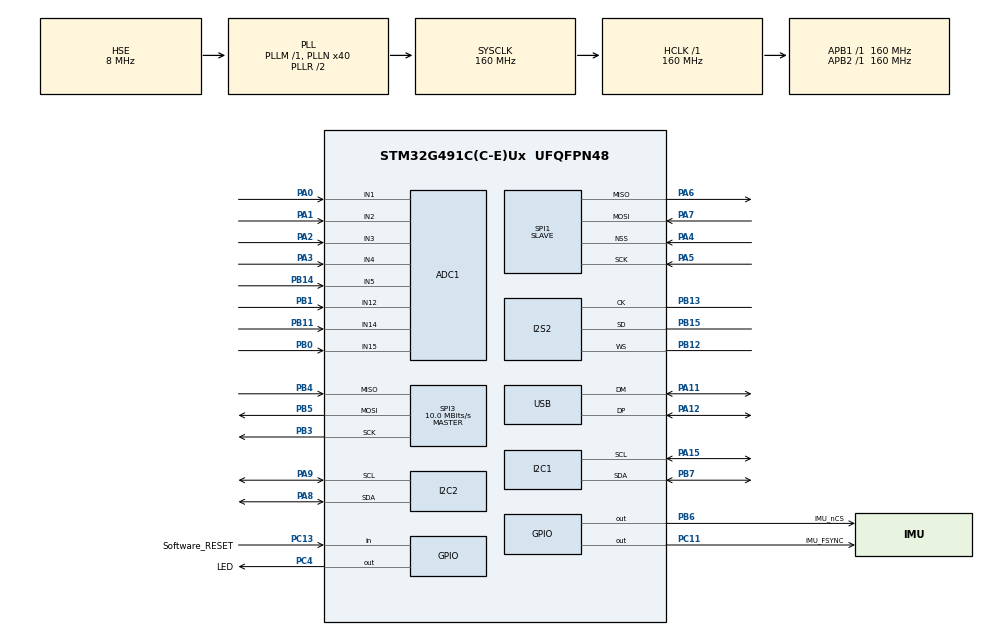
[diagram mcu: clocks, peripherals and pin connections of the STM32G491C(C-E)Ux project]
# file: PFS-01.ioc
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ADC1.Channel-10\#ChannelRegularConversion=ADC_CHANNEL_2
ADC1.Channel-19\#ChannelRegularConversion=ADC_CHANNEL_3
ADC1.Channel-20\#ChannelRegularConversion=ADC_CHANNEL_4
ADC1.Channel-21\#ChannelRegularConversion=ADC_CHANNEL_5
ADC1.Channel-22\#ChannelRegularConversion=ADC_CHANNEL_12
ADC1.Channel-23\#ChannelRegularConversion=ADC_CHANNEL_14
ADC1.Channel-24\#ChannelRegularConversion=ADC_CHANNEL_15
ADC1.Channel-25\#ChannelRegularConversion=ADC_CHANNEL_VBAT
ADC1.Channel-9\#ChannelRegularConversion=ADC_CHANNEL_1
ADC1.ClockPrescaler=ADC_CLOCK_ASYNC_DIV4
ADC1.NbrOfConversion=9
ADC1.NbrOfConversionFlag=1
ADC1.OffsetNumber-10\#ChannelRegularConversion=ADC_OFFSET_NONE
ADC1.OffsetNumber-19\#ChannelRegularConversion=ADC_OFFSET_NONE
ADC1.OffsetNumber-20\#ChannelRegularConversion=ADC_OFFSET_NONE
ADC1.OffsetNumber-21\#ChannelRegularConversion=ADC_OFFSET_NONE
ADC1.OffsetNumber-22\#ChannelRegularConversion=ADC_OFFSET_NONE
ADC1.OffsetNumber-23\#ChannelRegularConversion=ADC_OFFSET_NONE
ADC1.OffsetNumber-24\#ChannelRegularConversion=ADC_OFFSET_NONE
ADC1.OffsetNumber-25\#ChannelRegularConversion=ADC_OFFSET_NONE
ADC1.OffsetNumber-9\#ChannelRegularConversion=ADC_OFFSET_NONE
ADC1.Rank-10\#ChannelRegularConversion=2
ADC1.Rank-19\#ChannelRegularConversion=3
ADC1.Rank-20\#ChannelRegularConversion=4
ADC1.Rank-21\#ChannelRegularConversion=5
ADC1.Rank-22\#ChannelRegularConversion=6
ADC1.Rank-23\#ChannelRegularConversion=7
ADC1.Rank-24\#ChannelRegularConversion=8
ADC1.Rank-25\#ChannelRegularConversion=9
ADC1.Rank-9\#ChannelRegularConversion=1
ADC1.SamplingTime-10\#ChannelRegularConversion=ADC_SAMPLETIME_92CYCLES_5
ADC1.SamplingTime-19\#ChannelRegularConversion=ADC_SAMPLETIME_92CYCLES_5
ADC1.SamplingTime-20\#ChannelRegularConversion=ADC_SAMPLETIME_92CYCLES_5
ADC1.SamplingTime-21\#ChannelRegularConversion=ADC_SAMPLETIME_92CYCLES_5
ADC1.SamplingTime-22\#ChannelRegularConversion=ADC_SAMPLETIME_92CYCLES_5
ADC1.SamplingTime-23\#ChannelRegularConversion=ADC_SAMPLETIME_92CYCLES_5
ADC1.SamplingTime-24\#ChannelRegularConversion=ADC_SAMPLETIME_92CYCLES_5
ADC1.SamplingTime-25\#ChannelRegularConversion=ADC_SAMPLETIME_92CYCLES_5
ADC1.SamplingTime-9\#ChannelRegularConversion=ADC_SAMPLETIME_92CYCLES_5
ADC1.master=1
Dma.I2C2_RX.2.Direction=DMA_PERIPH_TO_MEMORY
Dma.I2C2_RX.2.EventEnable=DISABLE
Dma.I2C2_RX.2.Instance=DMA1_Channel3
Dma.I2C2_RX.2.MemDataAlignment=DMA_MDATAALIGN_BYTE
Dma.I2C2_RX.2.MemInc=DMA_MINC_ENABLE
Dma.I2C2_RX.2.Mode=DMA_NORMAL
Dma.I2C2_RX.2.PeriphDataAlignment=DMA_PDATAALIGN_BYTE
Dma.I2C2_RX.2.PeriphInc=DMA_PINC_DISABLE
Dma.I2C2_RX.2.Polarity=HAL_DMAMUX_REQ_GEN_RISING
Dma.I2C2_RX.2.Priority=DMA_PRIORITY_LOW
Dma.I2C2_RX.2.RequestNumber=1
Dma.I2C2_RX.2.SignalID=NONE
Dma.I2C2_RX.2.SyncEnable=DISABLE
Dma.I2C2_RX.2.SyncPolarity=HAL_DMAMUX_SYNC_NO_EVENT
Dma.I2C2_RX.2.SyncRequestNumber=1
Dma.I2C2_RX.2.SyncSignalID=NONE
Dma.I2C2_TX.3.Direction=DMA_MEMORY_TO_PERIPH
Dma.I2C2_TX.3.EventEnable=DISABLE
Dma.I2C2_TX.3.Instance=DMA1_Channel4
Dma.I2C2_TX.3.MemDataAlignment=DMA_MDATAALIGN_BYTE
Dma.I2C2_TX.3.MemInc=DMA_MINC_ENABLE
Dma.I2C2_TX.3.Mode=DMA_NORMAL
Dma.I2C2_TX.3.PeriphDataAlignment=DMA_PDATAALIGN_BYTE
Dma.I2C2_TX.3.PeriphInc=DMA_PINC_DISABLE
Dma.I2C2_TX.3.Polarity=HAL_DMAMUX_REQ_GEN_RISING
Dma.I2C2_TX.3.Priority=DMA_PRIORITY_LOW
Dma.I2C2_TX.3.RequestNumber=1
Dma.I2C2_TX.3.SignalID=NONE
Dma.I2C2_TX.3.SyncEnable=DISABLE
Dma.I2C2_TX.3.SyncPolarity=HAL_DMAMUX_SYNC_NO_EVENT
Dma.I2C2_TX.3.SyncRequestNumber=1
Dma.I2C2_TX.3.SyncSignalID=NONE
Dma.Request0=SPI1_RX
Dma.Request1=SPI1_TX
Dma.Request2=I2C2_RX
Dma.Request3=I2C2_TX
Dma.SPI1_RX.0.Direction=DMA_PERIPH_TO_MEMORY
Dma.SPI1_RX.0.EventEnable=DISABLE
Dma.SPI1_RX.0.Instance=DMA1_Channel1
Dma.SPI1_RX.0.MemDataAlignment=DMA_MDATAALIGN_BYTE
Dma.SPI1_RX.0.MemInc=DMA_MINC_ENABLE
Dma.SPI1_RX.0.Mode=DMA_NORMAL
Dma.SPI1_RX.0.PeriphDataAlignment=DMA_PDATAALIGN_BYTE
Dma.SPI1_RX.0.PeriphInc=DMA_PINC_DISABLE
Dma.SPI1_RX.0.Polarity=HAL_DMAMUX_REQ_GEN_RISING
Dma.SPI1_RX.0.Priority=DMA_PRIORITY_VERY_HIGH
Dma.SPI1_RX.0.RequestNumber=1
Dma.SPI1_RX.0.SignalID=NONE
Dma.SPI1_RX.0.SyncEnable=DISABLE
Dma.SPI1_RX.0.SyncPolarity=HAL_DMAMUX_SYNC_NO_EVENT
Dma.SPI1_RX.0.SyncRequestNumber=1
Dma.SPI1_RX.0.SyncSignalID=NONE
Dma.SPI1_TX.1.Direction=DMA_MEMORY_TO_PERIPH
Dma.SPI1_TX.1.EventEnable=DISABLE
Dma.SPI1_TX.1.Instance=DMA1_Channel2
Dma.SPI1_TX.1.MemDataAlignment=DMA_MDATAALIGN_BYTE
Dma.SPI1_TX.1.MemInc=DMA_MINC_ENABLE
Dma.SPI1_TX.1.Mode=DMA_NORMAL
Dma.SPI1_TX.1.PeriphDataAlignment=DMA_PDATAALIGN_BYTE
Dma.SPI1_TX.1.PeriphInc=DMA_PINC_DISABLE
Dma.SPI1_TX.1.Polarity=HAL_DMAMUX_REQ_GEN_RISING
Dma.SPI1_TX.1.Priority=DMA_PRIORITY_VERY_HIGH
Dma.SPI1_TX.1.RequestNumber=1
Dma.SPI1_TX.1.SignalID=NONE
Dma.SPI1_TX.1.SyncEnable=DISABLE
Dma.SPI1_TX.1.SyncPolarity=HAL_DMAMUX_SYNC_NO_EVENT
Dma.SPI1_TX.1.SyncRequestNumber=1
Dma.SPI1_TX.1.SyncSignalID=NONE
FREERTOS.Tasks01=ADCTask,0,128,StartADCTask,Default,NULL,Dynamic,NULL,NULL;LEDTask,-3,128,StartLEDTask,Default,NULL,Dynamic,NULL,NULL;PSTask,-3,128,StartPSTask,Default,NULL,Dynamic,NULL,NULL;IMUTask,-3,128,StartIMUTask,Default,NULL,Dynamic,NULL,NULL;SLAVETask,-3,128,StartSLAVETask,Default,NULL,Dynamic,NULL,NULL
FREERTOS.configTOTAL_HEAP_SIZE=15360
FREERTOS.configUSE_NEWLIB_REENTRANT=1
I2C1.Timing=0x30909DEC
I2C2.OwnAddress=0x01
I2C2.Timing=0x30909DEC
I2S2.DataFormat=I2S_DATAFORMAT_24B
I2S2.ErrorAudioFreq=0.8 %
I2S2.FullDuplexMode=I2S_FULLDUPLEXMODE_DISABLE
I2S2.Instance=SPI$Index
I2S2.RealAudioFreq=8.064 KHz
I2S2.VirtualMode=I2S_MODE_MASTER
Mcu.Family=STM32G4
Mcu.Name=STM32G491C(C-E)Ux
Mcu.Package=UFQFPN48
NVIC.DMA1_Channel1_IRQn=true\:5\:0\:false\:false\:true\:true\:false\:true
NVIC.DMA1_Channel2_IRQn=true\:5\:0\:false\:false\:true\:true\:false\:true
NVIC.DMA1_Channel3_IRQn=true\:5\:0\:false\:false\:true\:true\:false\:true
NVIC.DMA1_Channel4_IRQn=true\:5\:0\:false\:false\:true\:true\:false\:true
NVIC.I2C2_ER_IRQn=true\:5\:0\:false\:false\:true\:true\:true\:true
NVIC.I2C2_EV_IRQn=true\:5\:0\:false\:false\:true\:true\:true\:true
NVIC.PriorityGroup=NVIC_PRIORITYGROUP_4
NVIC.TIM1_UP_TIM16_IRQn=true\:0\:0\:false\:false\:true\:false\:false\:true
NVIC.TimeBase=TIM1_UP_TIM16_IRQn
NVIC.TimeBaseIP=TIM1
NVIC.USB_LP_IRQn=true\:5\:0\:false\:false\:true\:true\:false\:true
PA0.Mode=IN1-Single-Ended
PA0.Signal=ADC1_IN1
PA1.Mode=IN2-Single-Ended
PA1.Signal=ADC1_IN2
PA11.Mode=Device
PA11.Signal=USB_DM
PA12.Mode=Device
PA12.Signal=USB_DP
PA13.Mode=Serial_Wire
PA13.Signal=SYS_JTMS-SWDIO
PA14.Mode=Serial_Wire
PA14.Signal=SYS_JTCK-SWCLK
PA15.Mode=I2C
PA15.Signal=I2C1_SCL
PA2.Mode=IN3-Single-Ended
PA2.Signal=ADC1_IN3
PA3.Mode=IN4-Single-Ended
PA3.Signal=ADC1_IN4
PA4.Mode=NSS_Signal_Hard_Input
PA4.Signal=SPI1_NSS
PA5.Mode=Full_Duplex_Slave
PA5.Signal=SPI1_SCK
PA6.Mode=Full_Duplex_Slave
PA6.Signal=SPI1_MISO
PA7.Mode=Full_Duplex_Slave
PA7.Signal=SPI1_MOSI
PA8.Mode=I2C
PA8.Signal=I2C2_SDA
PA9.Mode=I2C
PA9.Signal=I2C2_SCL
PB0.Mode=IN15-Single-Ended
PB0.Signal=ADC1_IN15
PB1.Mode=IN12-Single-Ended
PB1.Signal=ADC1_IN12
PB11.Mode=IN14-Single-Ended
PB11.Signal=ADC1_IN14
PB12.Mode=Half_Duplex_Master
PB12.Signal=I2S2_WS
PB13.Mode=Half_Duplex_Master
PB13.Signal=I2S2_CK
PB14.Mode=IN5-Single-Ended
PB14.Signal=ADC1_IN5
PB15.Mode=Half_Duplex_Master
PB15.Signal=I2S2_SD
PB3.Mode=Full_Duplex_Master
PB3.Signal=SPI3_SCK
PB4.Mode=Full_Duplex_Master
PB4.Signal=SPI3_MISO
PB5.Mode=Full_Duplex_Master
PB5.Signal=SPI3_MOSI
PB6.GPIO_Label=IMU_nCS
PB6.Signal=GPIO_Output
PB7.Mode=I2C
PB7.Signal=I2C1_SDA
PC11.GPIO_Label=IMU_FSYNC
PC11.Signal=GPIO_Output
PC13.GPIO_Label=Software_RESET
PC13.Signal=GPIO_Input
PC4.GPIO_Label=LED
PC4.Signal=GPIO_Output
PF0-OSC_IN.Mode=HSE-External-Oscillator
PF0-OSC_IN.Signal=RCC_OSC_IN
PF1-OSC_OUT.Mode=HSE-External-Oscillator
PF1-OSC_OUT.Signal=RCC_OSC_OUT
ProjectManager.HeapSize=0x200
ProjectManager.StackSize=0x400
ProjectManager.TargetToolchain=STM32CubeIDE
RCC.ADC12Freq_Value=160000000
RCC.ADC345Freq_Value=160000000
RCC.AHBFreq_Value=160000000
RCC.APB1Freq_Value=160000000
RCC.APB1TimFreq_Value=160000000
RCC.APB2Freq_Value=160000000
RCC.APB2TimFreq_Value=160000000
RCC.CortexFreq_Value=160000000
RCC.EXTERNAL_CLOCK_VALUE=12288000
RCC.HCLKFreq_Value=160000000
RCC.HSE_VALUE=8000000
RCC.HSI48_VALUE=48000000
RCC.HSI_VALUE=16000000
RCC.I2SCLockSelection=RCC_I2SCLKSOURCE_HSI
RCC.LSE_VALUE=32768
RCC.PLLN=40
RCC.PLLSourceVirtual=RCC_PLLSOURCE_HSE
RCC.SYSCLKFreq_VALUE=160000000
RCC.SYSCLKSource=RCC_SYSCLKSOURCE_PLLCLK
RCC.USBFreq_Value=48000000
RCC.VCOOutputFreq_Value=320000000
SPI1.DataSize=SPI_DATASIZE_8BIT
SPI1.Direction=SPI_DIRECTION_2LINES
SPI1.Mode=SPI_MODE_SLAVE
SPI1.VirtualNSS=VM_NSSHARD
SPI1.VirtualType=VM_SLAVE
SPI3.BaudRatePrescaler=SPI_BAUDRATEPRESCALER_16
SPI3.CalculateBaudRate=10.0 MBits/s
SPI3.Direction=SPI_DIRECTION_2LINES
SPI3.Mode=SPI_MODE_MASTER
SPI3.VirtualType=VM_MASTER
USB_DEVICE.CLASS_NAME_FS=CDC
USB_DEVICE.VirtualMode=Cdc
USB_DEVICE.VirtualModeFS=Cdc_FS
VP_ADC1_Vbat_Input.Mode=IN-Vbat
VP_FREERTOS_VS_CMSIS_V1.Mode=CMSIS_V1
VP_SYS_VS_DBSignals.Mode=DisableDeadBatterySignals
VP_SYS_VS_tim1.Mode=TIM1
VP_USB_DEVICE_VS_USB_DEVICE_CDC_FS.Mode=CDC_FS
board=custom

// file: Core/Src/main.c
/* USER CODE BEGIN Header */
/**
  ******************************************************************************
  * @file           : main.c
  * @brief          : Main program body
  ******************************************************************************
  * @attention
  *
  * <h2><center>&copy; Copyright (c) 2022 STMicroelectronics.
  * All rights reserved.</center></h2>
  *
  * This software component is licensed by ST under BSD 3-Clause license,
  * the "License"; You may not use this file except in compliance with the
  * License. You may obtain a copy of the License at:
  *                        opensource.org/licenses/BSD-3-Clause
  *
  ******************************************************************************
  */
/* USER CODE END Header */
#include "main.h"
#include "cmsis_os.h"
#include "usb_device.h"

/* USER CODE BEGIN Includes */
#include "sensor.h"
#include <stdio.h>
#include "usbd_cdc_if.h"
/* USER CODE END Includes */

ADC_HandleTypeDef hadc1;

I2C_HandleTypeDef hi2c1;
I2C_HandleTypeDef hi2c2;
DMA_HandleTypeDef hdma_i2c2_rx;
DMA_HandleTypeDef hdma_i2c2_tx;

I2S_HandleTypeDef hi2s2;

SPI_HandleTypeDef hspi1;
SPI_HandleTypeDef hspi3;
DMA_HandleTypeDef hdma_spi1_rx;
DMA_HandleTypeDef hdma_spi1_tx;

osThreadId ADCTaskHandle;
osThreadId LEDTaskHandle;
osThreadId PSTaskHandle;
osThreadId IMUTaskHandle;
osThreadId SLAVETaskHandle;
/* USER CODE BEGIN PV */
uint8_t rxbuff[1];
uint8_t rxbuff_i2c[1];
/* USER CODE END PV */

void SystemClock_Config(void);
static void MX_GPIO_Init(void);
static void MX_DMA_Init(void);
static void MX_ADC1_Init(void);
static void MX_I2C1_Init(void);
static void MX_I2S2_Init(void);
static void MX_SPI1_Init(void);
static void MX_SPI3_Init(void);
static void MX_I2C2_Init(void);
void StartADCTask(void const * argument);
void StartLEDTask(void const * argument);
void StartPSTask(void const * argument);
void StartIMUTask(void const * argument);
void StartSLAVETask(void const * argument);

/* USER CODE BEGIN PFP */
void mpuWrite(uint8_t, uint8_t);
void ps_select_channel();
void ps_init();
void ps_init_multi();
void imu_init();
void ps_update();
void ps_update_multi();
void imu_update();
void adc_update();
void adc_update_ADS7828();
void sw_update();
uint32_t UART_IsEnabledIT_RX();
uint8_t getlen();
//void ics_init();
//void ics_init_DMA();
void txbuff_update();

/* USER CODE END PFP */

/* USER CODE BEGIN 0 */
int _write(int file, char *ptr, int len)
{
  #if enable_uart_slave
	HAL_UART_Transmit(&huart1,(uint8_t *)ptr,len,HAL_MAX_DELAY);
  #endif
  return len;
}

/* USER CODE END 0 */

int main(void)
{
  /* USER CODE BEGIN 1 */
  #if enable_uart_slave
    setbuf(stdout, NULL);
  #endif
  /* USER CODE END 1 */

  /* MCU Configuration--------------------------------------------------------*/

  /* Reset of all peripherals, Initializes the Flash interface and the Systick. */
  HAL_Init();

  /* Configure the system clock */
  SystemClock_Config();

  /* Initialize all configured peripherals */
  MX_GPIO_Init();
  MX_DMA_Init();
  MX_ADC1_Init();
  MX_I2C1_Init();
  MX_I2S2_Init();
  MX_SPI1_Init();
  MX_SPI3_Init();
  MX_USB_Device_Init();
  MX_I2C2_Init();
  /* USER CODE BEGIN 2 */
  sp.board_select = SELECT_PFS_01;
  sp.imu_select = SELECT_ICM_20600;

  sp.spi_slave_flag = 0;

  ps_init(&hi2c1);

  imu_init(&hspi3);

  #if enable_pr2_spi_slave
    // Start SPI slave with PR2
    // HAL_SPI_Receive_DMA should be called at last(?)
    HAL_Delay(100);
    HAL_SPI_Receive_DMA( &hspi1, rxbuff, sizeof(rxbuff));
  #endif

  #if enable_i2c_slave
    HAL_I2C_Slave_Receive_DMA(&hi2c2, (uint8_t*)rxbuff_i2c, 1);
  #endif
  /* USER CODE END 2 */

  /* Create the thread(s) */
  /* definition and creation of ADCTask */
  osThreadDef(ADCTask, StartADCTask, osPriorityNormal, 0, 128);
  ADCTaskHandle = osThreadCreate(osThread(ADCTask), NULL);

  /* definition and creation of LEDTask */
  osThreadDef(LEDTask, StartLEDTask, osPriorityIdle, 0, 128);
  LEDTaskHandle = osThreadCreate(osThread(LEDTask), NULL);

  /* definition and creation of PSTask */
  osThreadDef(PSTask, StartPSTask, osPriorityIdle, 0, 128);
  PSTaskHandle = osThreadCreate(osThread(PSTask), NULL);

  /* definition and creation of IMUTask */
  osThreadDef(IMUTask, StartIMUTask, osPriorityIdle, 0, 128);
  IMUTaskHandle = osThreadCreate(osThread(IMUTask), NULL);

  /* definition and creation of SLAVETask */
  osThreadDef(SLAVETask, StartSLAVETask, osPriorityIdle, 0, 128);
  SLAVETaskHandle = osThreadCreate(osThread(SLAVETask), NULL);

  /* Start scheduler */
  osKernelStart();

  /* We should never get here as control is now taken by the scheduler */
  /* Infinite loop */
  while (1)
  {

  }
}

void SystemClock_Config(void)
{
  RCC_OscInitTypeDef RCC_OscInitStruct = {0};
  RCC_ClkInitTypeDef RCC_ClkInitStruct = {0};
  RCC_PeriphCLKInitTypeDef PeriphClkInit = {0};

  /** Configure the main internal regulator output voltage
  */
  HAL_PWREx_ControlVoltageScaling(PWR_REGULATOR_VOLTAGE_SCALE1_BOOST);
  /** Initializes the RCC Oscillators according to the specified parameters
  * in the RCC_OscInitTypeDef structure.
  */
  RCC_OscInitStruct.OscillatorType = RCC_OSCILLATORTYPE_HSI|RCC_OSCILLATORTYPE_HSI48
                              |RCC_OSCILLATORTYPE_HSE;
  RCC_OscInitStruct.HSEState = RCC_HSE_ON;
  RCC_OscInitStruct.HSIState = RCC_HSI_ON;
  RCC_OscInitStruct.HSICalibrationValue = RCC_HSICALIBRATION_DEFAULT;
  RCC_OscInitStruct.HSI48State = RCC_HSI48_ON;
  RCC_OscInitStruct.PLL.PLLState = RCC_PLL_ON;
  RCC_OscInitStruct.PLL.PLLSource = RCC_PLLSOURCE_HSE;
  RCC_OscInitStruct.PLL.PLLM = RCC_PLLM_DIV1;
  RCC_OscInitStruct.PLL.PLLN = 40;
  RCC_OscInitStruct.PLL.PLLP = RCC_PLLP_DIV2;
  RCC_OscInitStruct.PLL.PLLQ = RCC_PLLQ_DIV2;
  RCC_OscInitStruct.PLL.PLLR = RCC_PLLR_DIV2;
  if (HAL_RCC_OscConfig(&RCC_OscInitStruct) != HAL_OK)
  {
    Error_Handler();
  }
  /** Initializes the CPU, AHB and APB buses clocks
  */
  RCC_ClkInitStruct.ClockType = RCC_CLOCKTYPE_HCLK|RCC_CLOCKTYPE_SYSCLK
                              |RCC_CLOCKTYPE_PCLK1|RCC_CLOCKTYPE_PCLK2;
  RCC_ClkInitStruct.SYSCLKSource = RCC_SYSCLKSOURCE_PLLCLK;
  RCC_ClkInitStruct.AHBCLKDivider = RCC_SYSCLK_DIV1;
  RCC_ClkInitStruct.APB1CLKDivider = RCC_HCLK_DIV1;
  RCC_ClkInitStruct.APB2CLKDivider = RCC_HCLK_DIV1;

  if (HAL_RCC_ClockConfig(&RCC_ClkInitStruct, FLASH_LATENCY_4) != HAL_OK)
  {
    Error_Handler();
  }
  /** Initializes the peripherals clocks
  */
  PeriphClkInit.PeriphClockSelection = RCC_PERIPHCLK_I2C1|RCC_PERIPHCLK_I2C2
                              |RCC_PERIPHCLK_I2S|RCC_PERIPHCLK_USB
                              |RCC_PERIPHCLK_ADC12;
  PeriphClkInit.I2c1ClockSelection = RCC_I2C1CLKSOURCE_PCLK1;
  PeriphClkInit.I2c2ClockSelection = RCC_I2C2CLKSOURCE_PCLK1;
  PeriphClkInit.I2sClockSelection = RCC_I2SCLKSOURCE_HSI;
  PeriphClkInit.UsbClockSelection = RCC_USBCLKSOURCE_HSI48;
  PeriphClkInit.Adc12ClockSelection = RCC_ADC12CLKSOURCE_SYSCLK;
  if (HAL_RCCEx_PeriphCLKConfig(&PeriphClkInit) != HAL_OK)
  {
    Error_Handler();
  }
}

static void MX_ADC1_Init(void)
{

  ADC_MultiModeTypeDef multimode = {0};
  ADC_ChannelConfTypeDef sConfig = {0};

  /** Common config
  */
  hadc1.Instance = ADC1;
  hadc1.Init.ClockPrescaler = ADC_CLOCK_ASYNC_DIV4;
  hadc1.Init.Resolution = ADC_RESOLUTION_12B;
  hadc1.Init.DataAlign = ADC_DATAALIGN_RIGHT;
  hadc1.Init.GainCompensation = 0;
  hadc1.Init.ScanConvMode = ADC_SCAN_ENABLE;
  hadc1.Init.EOCSelection = ADC_EOC_SINGLE_CONV;
  hadc1.Init.LowPowerAutoWait = DISABLE;
  hadc1.Init.ContinuousConvMode = DISABLE;
  hadc1.Init.NbrOfConversion = 9;
  hadc1.Init.DiscontinuousConvMode = DISABLE;
  hadc1.Init.ExternalTrigConv = ADC_SOFTWARE_START;
  hadc1.Init.ExternalTrigConvEdge = ADC_EXTERNALTRIGCONVEDGE_NONE;
  hadc1.Init.DMAContinuousRequests = DISABLE;
  hadc1.Init.Overrun = ADC_OVR_DATA_PRESERVED;
  hadc1.Init.OversamplingMode = DISABLE;
  if (HAL_ADC_Init(&hadc1) != HAL_OK)
  {
    Error_Handler();
  }
  /** Configure the ADC multi-mode
  */
  multimode.Mode = ADC_MODE_INDEPENDENT;
  if (HAL_ADCEx_MultiModeConfigChannel(&hadc1, &multimode) != HAL_OK)
  {
    Error_Handler();
  }
  /** Configure Regular Channel
  */
  sConfig.Channel = ADC_CHANNEL_1;
  sConfig.Rank = ADC_REGULAR_RANK_1;
  sConfig.SamplingTime = ADC_SAMPLETIME_92CYCLES_5;
  sConfig.SingleDiff = ADC_SINGLE_ENDED;
  sConfig.OffsetNumber = ADC_OFFSET_NONE;
  sConfig.Offset = 0;
  if (HAL_ADC_ConfigChannel(&hadc1, &sConfig) != HAL_OK)
  {
    Error_Handler();
  }
  /** Configure Regular Channel
  */
  sConfig.Channel = ADC_CHANNEL_2;
  sConfig.Rank = ADC_REGULAR_RANK_2;
  if (HAL_ADC_ConfigChannel(&hadc1, &sConfig) != HAL_OK)
  {
    Error_Handler();
  }
  /** Configure Regular Channel
  */
  sConfig.Channel = ADC_CHANNEL_3;
  sConfig.Rank = ADC_REGULAR_RANK_3;
  if (HAL_ADC_ConfigChannel(&hadc1, &sConfig) != HAL_OK)
  {
    Error_Handler();
  }
  /** Configure Regular Channel
  */
  sConfig.Channel = ADC_CHANNEL_4;
  sConfig.Rank = ADC_REGULAR_RANK_4;
  if (HAL_ADC_ConfigChannel(&hadc1, &sConfig) != HAL_OK)
  {
    Error_Handler();
  }
  /** Configure Regular Channel
  */
  sConfig.Channel = ADC_CHANNEL_5;
  sConfig.Rank = ADC_REGULAR_RANK_5;
  if (HAL_ADC_ConfigChannel(&hadc1, &sConfig) != HAL_OK)
  {
    Error_Handler();
  }
  /** Configure Regular Channel
  */
  sConfig.Channel = ADC_CHANNEL_12;
  sConfig.Rank = ADC_REGULAR_RANK_6;
  if (HAL_ADC_ConfigChannel(&hadc1, &sConfig) != HAL_OK)
  {
    Error_Handler();
  }
  /** Configure Regular Channel
  */
  sConfig.Channel = ADC_CHANNEL_14;
  sConfig.Rank = ADC_REGULAR_RANK_7;
  if (HAL_ADC_ConfigChannel(&hadc1, &sConfig) != HAL_OK)
  {
    Error_Handler();
  }
  /** Configure Regular Channel
  */
  sConfig.Channel = ADC_CHANNEL_15;
  sConfig.Rank = ADC_REGULAR_RANK_8;
  if (HAL_ADC_ConfigChannel(&hadc1, &sConfig) != HAL_OK)
  {
    Error_Handler();
  }
  /** Configure Regular Channel
  */
  sConfig.Channel = ADC_CHANNEL_VBAT;
  sConfig.Rank = ADC_REGULAR_RANK_9;
  if (HAL_ADC_ConfigChannel(&hadc1, &sConfig) != HAL_OK)
  {
    Error_Handler();
  }

}

static void MX_I2C1_Init(void)
{

  hi2c1.Instance = I2C1;
  hi2c1.Init.Timing = 0x30909DEC;
  hi2c1.Init.OwnAddress1 = 0;
  hi2c1.Init.AddressingMode = I2C_ADDRESSINGMODE_7BIT;
  hi2c1.Init.DualAddressMode = I2C_DUALADDRESS_DISABLE;
  hi2c1.Init.OwnAddress2 = 0;
  hi2c1.Init.OwnAddress2Masks = I2C_OA2_NOMASK;
  hi2c1.Init.GeneralCallMode = I2C_GENERALCALL_DISABLE;
  hi2c1.Init.NoStretchMode = I2C_NOSTRETCH_DISABLE;
  if (HAL_I2C_Init(&hi2c1) != HAL_OK)
  {
    Error_Handler();
  }
  /** Configure Analogue filter
  */
  if (HAL_I2CEx_ConfigAnalogFilter(&hi2c1, I2C_ANALOGFILTER_ENABLE) != HAL_OK)
  {
    Error_Handler();
  }
  /** Configure Digital filter
  */
  if (HAL_I2CEx_ConfigDigitalFilter(&hi2c1, 0) != HAL_OK)
  {
    Error_Handler();
  }

}

static void MX_I2C2_Init(void)
{

  hi2c2.Instance = I2C2;
  hi2c2.Init.Timing = 0x30909DEC;
  hi2c2.Init.OwnAddress1 = 2;
  hi2c2.Init.AddressingMode = I2C_ADDRESSINGMODE_7BIT;
  hi2c2.Init.DualAddressMode = I2C_DUALADDRESS_DISABLE;
  hi2c2.Init.OwnAddress2 = 0;
  hi2c2.Init.OwnAddress2Masks = I2C_OA2_NOMASK;
  hi2c2.Init.GeneralCallMode = I2C_GENERALCALL_DISABLE;
  hi2c2.Init.NoStretchMode = I2C_NOSTRETCH_DISABLE;
  if (HAL_I2C_Init(&hi2c2) != HAL_OK)
  {
    Error_Handler();
  }
  /** Configure Analogue filter
  */
  if (HAL_I2CEx_ConfigAnalogFilter(&hi2c2, I2C_ANALOGFILTER_ENABLE) != HAL_OK)
  {
    Error_Handler();
  }
  /** Configure Digital filter
  */
  if (HAL_I2CEx_ConfigDigitalFilter(&hi2c2, 0) != HAL_OK)
  {
    Error_Handler();
  }

}

static void MX_I2S2_Init(void)
{

  hi2s2.Instance = SPI2;
  hi2s2.Init.Mode = I2S_MODE_MASTER_TX;
  hi2s2.Init.Standard = I2S_STANDARD_PHILIPS;
  hi2s2.Init.DataFormat = I2S_DATAFORMAT_24B;
  hi2s2.Init.MCLKOutput = I2S_MCLKOUTPUT_DISABLE;
  hi2s2.Init.AudioFreq = I2S_AUDIOFREQ_8K;
  hi2s2.Init.CPOL = I2S_CPOL_LOW;
  if (HAL_I2S_Init(&hi2s2) != HAL_OK)
  {
    Error_Handler();
  }

}

static void MX_SPI1_Init(void)
{

  /* SPI1 parameter configuration*/
  hspi1.Instance = SPI1;
  hspi1.Init.Mode = SPI_MODE_SLAVE;
  hspi1.Init.Direction = SPI_DIRECTION_2LINES;
  hspi1.Init.DataSize = SPI_DATASIZE_8BIT;
  hspi1.Init.CLKPolarity = SPI_POLARITY_LOW;
  hspi1.Init.CLKPhase = SPI_PHASE_1EDGE;
  hspi1.Init.NSS = SPI_NSS_HARD_INPUT;
  hspi1.Init.FirstBit = SPI_FIRSTBIT_MSB;
  hspi1.Init.TIMode = SPI_TIMODE_DISABLE;
  hspi1.Init.CRCCalculation = SPI_CRCCALCULATION_DISABLE;
  hspi1.Init.CRCPolynomial = 7;
  hspi1.Init.CRCLength = SPI_CRC_LENGTH_DATASIZE;
  hspi1.Init.NSSPMode = SPI_NSS_PULSE_DISABLE;
  if (HAL_SPI_Init(&hspi1) != HAL_OK)
  {
    Error_Handler();
  }

}

static void MX_SPI3_Init(void)
{

  /* SPI3 parameter configuration*/
  hspi3.Instance = SPI3;
  hspi3.Init.Mode = SPI_MODE_MASTER;
  hspi3.Init.Direction = SPI_DIRECTION_2LINES;
  hspi3.Init.DataSize = SPI_DATASIZE_8BIT;
  hspi3.Init.CLKPolarity = SPI_POLARITY_LOW;
  hspi3.Init.CLKPhase = SPI_PHASE_1EDGE;
  hspi3.Init.NSS = SPI_NSS_SOFT;
  hspi3.Init.BaudRatePrescaler = SPI_BAUDRATEPRESCALER_16;
  hspi3.Init.FirstBit = SPI_FIRSTBIT_MSB;
  hspi3.Init.TIMode = SPI_TIMODE_DISABLE;
  hspi3.Init.CRCCalculation = SPI_CRCCALCULATION_DISABLE;
  hspi3.Init.CRCPolynomial = 7;
  hspi3.Init.CRCLength = SPI_CRC_LENGTH_DATASIZE;
  hspi3.Init.NSSPMode = SPI_NSS_PULSE_ENABLE;
  if (HAL_SPI_Init(&hspi3) != HAL_OK)
  {
    Error_Handler();
  }

}

static void MX_DMA_Init(void)
{

  /* DMA controller clock enable */
  __HAL_RCC_DMAMUX1_CLK_ENABLE();
  __HAL_RCC_DMA1_CLK_ENABLE();

  /* DMA interrupt init */
  /* DMA1_Channel1_IRQn interrupt configuration */
  HAL_NVIC_SetPriority(DMA1_Channel1_IRQn, 5, 0);
  HAL_NVIC_EnableIRQ(DMA1_Channel1_IRQn);
  /* DMA1_Channel2_IRQn interrupt configuration */
  HAL_NVIC_SetPriority(DMA1_Channel2_IRQn, 5, 0);
  HAL_NVIC_EnableIRQ(DMA1_Channel2_IRQn);
  /* DMA1_Channel3_IRQn interrupt configuration */
  HAL_NVIC_SetPriority(DMA1_Channel3_IRQn, 5, 0);
  HAL_NVIC_EnableIRQ(DMA1_Channel3_IRQn);
  /* DMA1_Channel4_IRQn interrupt configuration */
  HAL_NVIC_SetPriority(DMA1_Channel4_IRQn, 5, 0);
  HAL_NVIC_EnableIRQ(DMA1_Channel4_IRQn);

}

static void MX_GPIO_Init(void)
{
  GPIO_InitTypeDef GPIO_InitStruct = {0};

  /* GPIO Ports Clock Enable */
  __HAL_RCC_GPIOC_CLK_ENABLE();
  __HAL_RCC_GPIOF_CLK_ENABLE();
  __HAL_RCC_GPIOA_CLK_ENABLE();
  __HAL_RCC_GPIOB_CLK_ENABLE();

  /*Configure GPIO pin Output Level */
  HAL_GPIO_WritePin(GPIOC, LED_Pin|IMU_FSYNC_Pin, GPIO_PIN_RESET);

  /*Configure GPIO pin Output Level */
  HAL_GPIO_WritePin(IMU_nCS_GPIO_Port, IMU_nCS_Pin, GPIO_PIN_RESET);

  /*Configure GPIO pin : Software_RESET_Pin */
  GPIO_InitStruct.Pin = Software_RESET_Pin;
  GPIO_InitStruct.Mode = GPIO_MODE_INPUT;
  GPIO_InitStruct.Pull = GPIO_NOPULL;
  HAL_GPIO_Init(Software_RESET_GPIO_Port, &GPIO_InitStruct);

  /*Configure GPIO pins : LED_Pin IMU_FSYNC_Pin */
  GPIO_InitStruct.Pin = LED_Pin|IMU_FSYNC_Pin;
  GPIO_InitStruct.Mode = GPIO_MODE_OUTPUT_PP;
  GPIO_InitStruct.Pull = GPIO_NOPULL;
  GPIO_InitStruct.Speed = GPIO_SPEED_FREQ_LOW;
  HAL_GPIO_Init(GPIOC, &GPIO_InitStruct);

  /*Configure GPIO pin : IMU_nCS_Pin */
  GPIO_InitStruct.Pin = IMU_nCS_Pin;
  GPIO_InitStruct.Mode = GPIO_MODE_OUTPUT_PP;
  GPIO_InitStruct.Pull = GPIO_NOPULL;
  GPIO_InitStruct.Speed = GPIO_SPEED_FREQ_LOW;
  HAL_GPIO_Init(IMU_nCS_GPIO_Port, &GPIO_InitStruct);

}

/* USER CODE BEGIN 4 */
void HAL_SPI_RxCpltCallback(SPI_HandleTypeDef *hspi) {
  if(rxbuff[0] == READ_COMMAND){//as possible as light processing
    // Do not call txbuff_update() before HAL_SPI_Transmit_DMA();
    // There is only 36us for txbuff_update() to be processed
    // due to PR2 Gripper MCB specification
    HAL_SPI_Transmit_DMA(hspi, sp.txbuff_state[sp.spi_slave_flag], TXBUFF_LENGTH);
  }else{
   	HAL_SPI_Receive_DMA(hspi, rxbuff, 1);
  }
}

void HAL_SPI_TxCpltCallback(SPI_HandleTypeDef *hspi) {
    txbuff_update();
    // HAL_Delay(1) is magic number
    HAL_SPI_Receive_DMA(hspi, rxbuff, 1);
}

void HAL_I2C_SlaveRxCpltCallback(I2C_HandleTypeDef *hi2c) {
  if(rxbuff_i2c[0] == READ_COMMAND) {
    HAL_I2C_Slave_Transmit_DMA(hi2c, sp.txbuff_state[sp.spi_slave_flag], TXBUFF_LENGTH);
  }
  else {
    HAL_I2C_Slave_Receive_DMA(hi2c, rxbuff_i2c, sizeof(rxbuff_i2c));
  }
}

void HAL_I2C_SlaveTxCpltCallback(I2C_HandleTypeDef *hi2c) {
  txbuff_update();
  HAL_I2C_Slave_Receive_DMA(hi2c, (uint8_t*)rxbuff_i2c, sizeof(rxbuff_i2c));
}
/* USER CODE END 4 */

void StartADCTask(void const * argument)
{
  /* USER CODE BEGIN 5 */
  /* Infinite loop */
  for(;;)
  {
	  adc_update(&hadc1);
	  #if board_select == SELECT_PFS_01_ASM
		  adc_update_ADS7828(&hi2c1);
	  #endif
	  osDelay(1);
  }
  /* USER CODE END 5 */
}

void StartLEDTask(void const * argument)
{
  /* USER CODE BEGIN StartLEDTask */

  /* Infinite loop */
  for(;;)
  {
	  HAL_GPIO_TogglePin(LED_GPIO_Port,LED_Pin);
	  osDelay(50);
  }
  /* USER CODE END StartLEDTask */
}

void StartPSTask(void const * argument)
{
  /* USER CODE BEGIN StartPSTask */
  /* Infinite loop */
  for(;;)
  {
	ps_update(&hi2c1);
    osDelay(1);
  }
  /* USER CODE END StartPSTask */
}

void StartIMUTask(void const * argument)
{
  /* USER CODE BEGIN StartIMUTask */
  /* Infinite loop */
  for(;;)
  {
	  imu_update(&hspi3);
	  osDelay(1);
  }
  /* USER CODE END StartIMUTask */
}

void StartSLAVETask(void const * argument)
{
  /* USER CODE BEGIN StartSLAVETask */
  /* Infinite loop */
  for(;;)
  {
     #if enable_uart_slave || enable_usb_slave
	  txbuff_update();
     #endif
	 #if enable_uart_slave
      HAL_UART_Transmit(&huart1,
    		  (uint8_t *)sp.txbuff_state[sp.spi_slave_flag],
			  TXBUFF_LENGTH,
			  HAL_MAX_DELAY);
	  printf("\r\n");
	 #endif
	 #if enable_usb_slave
      while(CDC_Transmit_FS((uint8_t*)sp.txbuff_state[sp.spi_slave_flag], TXBUFF_LENGTH) == USBD_OK) {}
      char buff[2] = "\r\n";
      osDelay(1);
      while(CDC_Transmit_FS((uint8_t*)buff, sizeof(buff)) == USBD_OK) {}
      osDelay(1);
	 #endif
    osDelay(1);
  }
  /* USER CODE END StartSLAVETask */
}

 /**
  * @brief  Period elapsed callback in non blocking mode
  * @note   This function is called  when TIM1 interrupt took place, inside
  * HAL_TIM_IRQHandler(). It makes a direct call to HAL_IncTick() to increment
  * a global variable "uwTick" used as application time base.
  * @param  htim : TIM handle
  * @retval None
  */
void HAL_TIM_PeriodElapsedCallback(TIM_HandleTypeDef *htim)
{
  if (htim->Instance == TIM1) {
    HAL_IncTick();
  }
}

void Error_Handler(void)
{
  __disable_irq();
  while (1)
  {
  }
}

/************************ (C) COPYRIGHT STMicroelectronics *****END OF FILE****/
